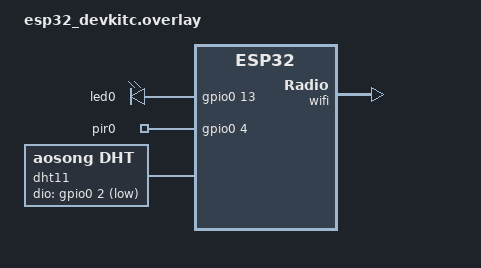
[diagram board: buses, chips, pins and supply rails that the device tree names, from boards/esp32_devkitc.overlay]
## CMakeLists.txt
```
# Minimum CMake version
cmake_minimum_required(VERSION 3.20.0)

# Locate the Zephyr RTOS source
find_package(Zephyr REQUIRED HINTS $ENV{ZEPHYR_BASE})

# Name the project
project(
    esp32_multi_sensor
    VERSION 0.1.0
    LANGUAGES C
)

file(GLOB APP_SOURCES
    src/*.c
    src/network/*.c
    # src/sensors/*.c
)

# Locate the source code for the application
target_sources(app PRIVATE ${APP_SOURCES})
```

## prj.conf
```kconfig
# Increase stack size to avoid crashes
CONFIG_MAIN_STACK_SIZE=4096

# Debugger
CONFIG_DEBUG=y
CONFIG_ASSERT=y

# Drivers
CONFIG_SENSOR=y
CONFIG_DHT=y
CONFIG_GPIO=y

# Logging
CONFIG_LOG=y
CONFIG_LOG_BACKEND_UART=y

# Shell
CONFIG_SHELL=y
# CONFIG_SHELL_UART=y
CONFIG_SHELL_BACKEND_SERIAL=y
CONFIG_SHELL_STACK_SIZE=4096
CONFIG_CONSOLE=y
CONFIG_UART_CONSOLE=y

# Networking
CONFIG_WIFI=y
CONFIG_NETWORKING=y
CONFIG_NET_IPV4=y
CONFIG_NET_TCP=y
CONFIG_NET_SOCKETS=y
CONFIG_NET_DHCPV4=y
CONFIG_DNS_RESOLVER=y
CONFIG_NET_CONFIG_SETTINGS=y
CONFIG_NET_CONFIG_INIT_TIMEOUT=30
CONFIG_NET_LOG=y
CONFIG_NET_L2_ETHERNET=y

# TODO: Flash storage for settings
```

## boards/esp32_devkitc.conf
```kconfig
# Required to get an IP address via DHCP
CONFIG_ESP32_WIFI_STA_AUTO_DHCPV4=y

# Use system heap for Wi-Fi to save memory
CONFIG_ESP_WIFI_HEAP_SYSTEM=y
CONFIG_HEAP_MEM_POOL_SIZE=51200

# Debugger
# CONFIG_ESP32_GDBSTUB=y
```

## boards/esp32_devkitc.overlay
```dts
/ {
    aliases {
        power-led = &led0;
        pir-motion-sensor = &pir0;
        temp-humidity-sensor = &dht11;
        // ldr-light-sensor = &ldr0;
    };

    // Power led on pin 13
    leds {
        compatible = "gpio-leds";
        led0: pin13 {
            gpios = <&gpio0 13 GPIO_ACTIVE_HIGH>;
        };
    };

    // PIR motion sensor on pin 4
    gpio-inputs {
        compatible = "gpio-keys";
        debounce-interval-ms = <1000>;

        pir0: pin4 {
            gpios = <&gpio0 4 GPIO_ACTIVE_HIGH>;
            status = "okay";
        };
    };

    // Temperature/humidity sensor on pin 2
    // These sensors use single-wire communication with a pull-up resistor.
    dht11: dht11 {
        compatible = "aosong,dht";
        dio-gpios = <&gpio0 2 (GPIO_OPEN_DRAIN | GPIO_PULL_UP | GPIO_ACTIVE_LOW)>;
        status = "okay";
    };

//     // LDR light sensor on ADC1 channel 6 (GPIO34)
//     ldr0: ldr0 {
//         compatible = "adc-ldr";          // TODO: Create custom ADC LDR driver
//         io-channels = <&adc 1 6>;
//         status = "okay";
//     };
};

&wifi {
    status = "okay";
};
```

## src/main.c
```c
#include <stdio.h>
#include <zephyr/kernel.h>
#include <zephyr/drivers/gpio.h>
#include <zephyr/drivers/sensor.h>
#include <zephyr/logging/log.h>

#include "sensors/dht11.h"

#include "network/wifi.h"

LOG_MODULE_REGISTER(app, LOG_LEVEL_INF);

// Settings
static const int32_t sleep_time_ms = 1000;

int main(void)
{
    printk("Wi-Fi Scan Demo\r\n");

    // Initialize WiFi
    wifi_init();

    while (1) 
	{

    }

    return 0;
}

// int main(void)
// {
//     const struct gpio_dt_spec power_led = GPIO_DT_SPEC_GET(DT_ALIAS(power_led), gpios);

// 	int led_state = 0;
// 	struct sensor_value temp_value;
// 	struct sensor_value humidity_value;

// 	// Ensure that the peripherals were initialized
// 	__ASSERT(gpio_is_ready_dt(&power_led), "Error initializing LED.\n");

// 	// Set the GPIO as output
// 	if (gpio_pin_configure_dt(&power_led, GPIO_OUTPUT) < 0)
// 	{
// 		LOG_ERR("Error configuring LED pin.\n");
// 	}

// 	dht_checkInit();

// 	while (1)
// 	{
// 		// Toggle the LED
// 		led_state = !led_state;
// 		if (gpio_pin_set_dt(&power_led, led_state) < 0)
// 		{
// 			LOG_ERR("Error setting GPIO pin\n");
// 		}

// 		// Read temperature and humidity
//         dht11_getTemperatureAndHumidity(&temp_value, &humidity_value);
//         LOG_INF("Temperature: %d.%06d C, Humidity: %d.%06d %%\n",
//                temp_value.val1, temp_value.val2,
//                humidity_value.val1, humidity_value.val2);

// 		// Sleep
// 		k_msleep(sleep_time_ms);
// 	}

// 	return 0;
// }
```
